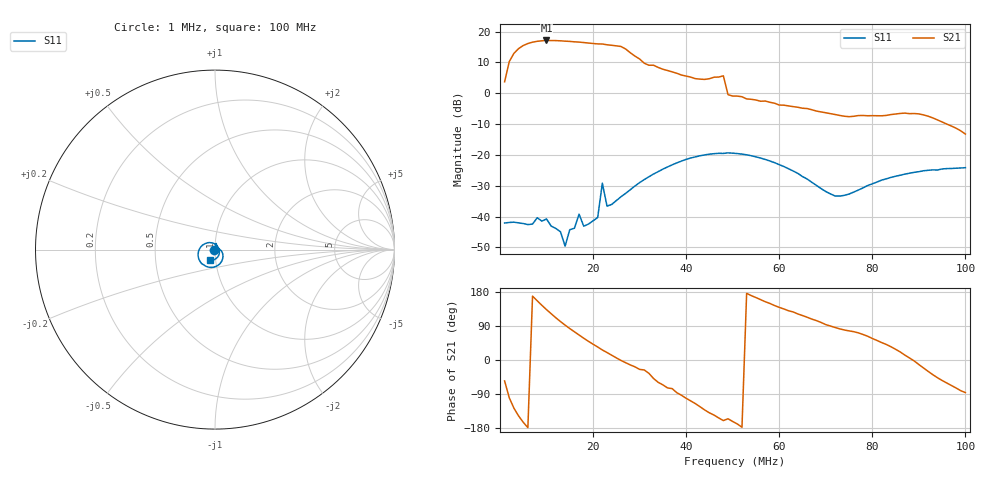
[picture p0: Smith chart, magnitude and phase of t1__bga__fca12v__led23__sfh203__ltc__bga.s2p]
# HZ S RI R 50
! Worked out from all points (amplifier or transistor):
!   100 points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, 1 MHz to 100 MHz, reference 50 ohm
!   highest |S21| = 17.1 dB at 10 MHz (marker M1)
!   |S21| within 3 dB of that: 3.773 MHz to 27.19 MHz (23.42 MHz wide, 151 % of centre)
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1000001  -0.00784 0.000261  0.8755 -1.262  0 0  0 0
2000001  -0.00795 0.000884  -0.5465 -3.213  0 0  0 0
3000001  -0.00807 0.000704  -2.675 -3.541  0 0  0 0
5000001  -0.00742 0.00205  -5.724 -1.612  0 0  0 0
6000001  -0.0071 0.00208  -6.405 -0.1706  0 0  0 0
8000001  -0.00907 0.00299  -6.371 2.8  0 0  0 0
1e7  -0.0085 0.00331  -4.9 5.255  0 0  0 0
1.2e7  -0.00494 0.00407  -2.623 6.648  0 0  0 0
1.4e7  -0.00243 0.00224  -0.2474 6.997  0 0  0 0
1.8e7  0.000725 0.00692  3.571 5.599  0 0  0 0
2.1e7  0.00608 0.0075  5.219 3.556  0 0  0 0
2.2e7  0.00676 0.034  5.636 2.802  0 0  0 0
2.6e7  0.0204 0.00427  5.737 -0.1194  0 0  0 0
2.8e7  0.0272 7.43e-05  4.425 -1.017  0 0  0 0
3.4e7  0.0439 -0.0304  1.352 -2.248  0 0  0 0
4e7  0.0255 -0.0807  -0.3647 -1.864  0 0  0 0
4.8e7  -0.0621 -0.0854  -1.799 -0.6597  0 0  0 0
4.9e7  -0.0737 -0.0787  -0.8601 -0.3999  0 0  0 0
5.1e7  -0.0878 -0.0577  -0.8813 -0.1748  0 0  0 0
6.7e7  -0.00809 0.035  -0.1661 0.5138  0 0  0 0
8.4e7  0.0159 -0.04  0.3693 0.2587  0 0  0 0
1e8  -0.026 -0.0563  0.0152 -0.2169  0 0  0 0
